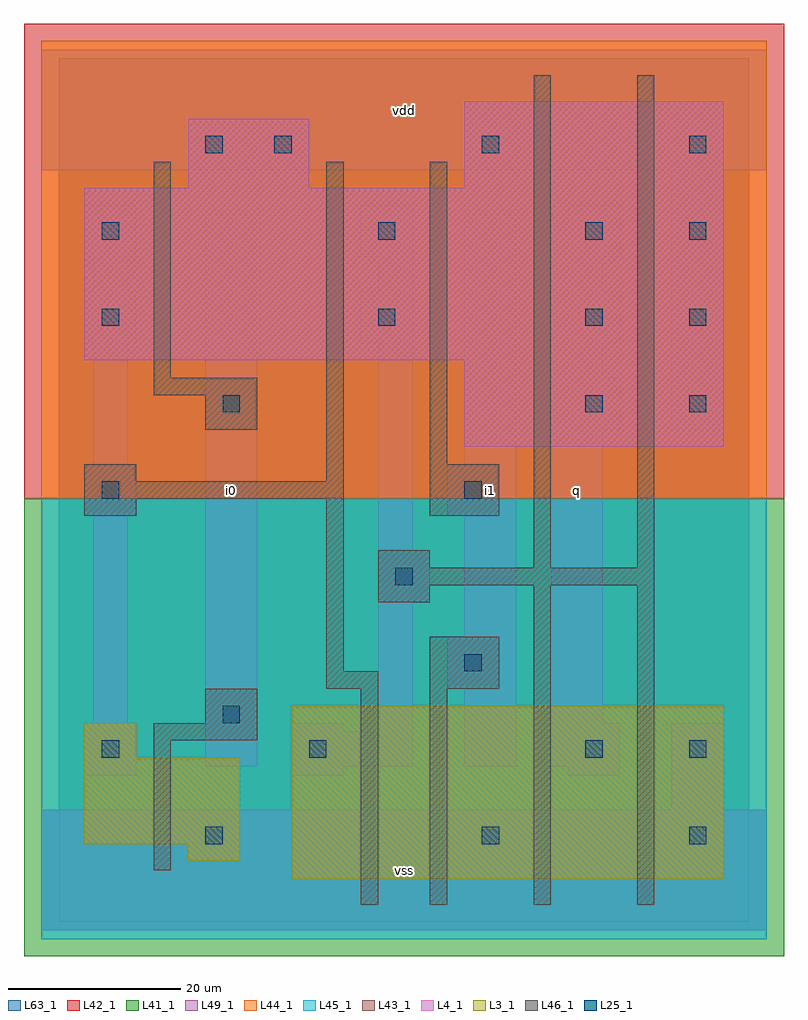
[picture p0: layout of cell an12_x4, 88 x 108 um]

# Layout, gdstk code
import gdstk
lib = gdstk.Library(unit=1e-6, precision=1e-09)
def R(c, l, rs):  # rectangles x0, y0, x1, y1
    for r in rs: c.add(gdstk.rectangle(r[:2], r[2:], *l))
def A(c, l, x, y, w, h, nx, ny, dx, dy):  # array of equal rectangles
    R(c, l, [(x+i*dx, y+j*dy, x+i*dx+w, y+j*dy+h) for i in range(nx) for j in range(ny)])
L3_1 = (3, 1)
L4_1 = (4, 1)
L25_1 = (25, 1)
L41_1 = (41, 1)
L42_1 = (42, 1)
L43_1 = (43, 1)
L44_1 = (44, 1)
L45_1 = (45, 1)
L46_1 = (46, 1)
L49_1 = (49, 1)
L63_1 = (63, 1)

an12_x4 = lib.new_cell('an12_x4')
R(an12_x4, L3_1, [(27,5,77,25), (15,7,21,9), (3,9,21,19), (3,19,9,23)])
R(an12_x4, L4_1, [(47,55,77,65), (3,65,77,85), (15,85,29,93), (47,85,77,95)])
A(an12_x4, L25_1, 61, 59, 2, 2, 1, 3, 0, 10)
A(an12_x4, L25_1, 73, 59, 2, 2, 1, 3, 0, 10)
A(an12_x4, L25_1, 25, 89, 2, 2, 3, 1, 24, 0)
R(an12_x4, L25_1, [(17,9,19,11), (49,9,51,11), (73,9,75,11), (5,19,7,21), (29,19,31,21), (61,19,63,21), (73,19,75,21), (19,23,21,25), (47,29,49,31), (39,39,41,41), (5,49,7,51), (47,49,49,51), (19,59,21,61), (5,69,7,71), (37,69,39,71), (5,79,7,81), (37,79,39,81), (17,89,19,91)])
R(an12_x4, L41_1, [(-4,-4,84,49)])
R(an12_x4, L42_1, [(-4,49,84,104)])
R(an12_x4, L43_1, [(27,5,77,25), (15,7,21,9), (3,9,21,19), (3,19,9,23), (47,55,77,65), (3,65,77,85), (15,85,29,93), (47,85,77,95)])
R(an12_x4, L44_1, [(-2,49,82,102)])
R(an12_x4, L45_1, [(-2,-2,82,49)])
R(an12_x4, L46_1, [(35,2,37,27), (43,2,45,27), (55,2,57,39), (67,2,69,39), (11,6,13,21), (11,21,23,23), (17,23,23,27), (31,27,37,29), (43,27,51,33), (31,29,33,49), (37,37,43,39), (37,39,69,41), (37,41,43,43), (55,41,57,98), (67,41,69,98), (3,47,9,49), (43,47,51,53), (3,49,33,51), (3,51,9,53), (31,51,33,88), (43,53,45,88), (17,57,23,61), (11,61,23,63), (11,63,13,88)])
R(an12_x4, L49_1, [(-2,-1,82,13), (71,13,77,23), (3,17,9,23), (27,17,33,18), (59,17,65,18), (17,18,23,82), (27,18,41,22), (47,18,53,27), (57,18,65,23), (27,22,33,23), (37,22,41,37), (4,23,8,47), (57,23,63,57), (45,27,53,33), (47,33,53,47), (37,37,43,43), (37,43,41,67), (3,47,9,53), (45,47,53,53), (4,53,8,67), (47,53,53,82), (57,57,65,63), (71,57,77,87), (57,63,63,67), (3,67,9,73), (35,67,41,73), (57,67,65,73), (4,73,8,77), (37,73,41,77), (57,73,63,77), (3,77,9,83), (35,77,41,83), (57,77,65,82), (59,82,65,83), (-2,87,82,101)])
R(an12_x4, L63_1, [(0,0,80,100)])
an12_x4.add(gdstk.Label('i0', (20,50), layer=49, texttype=1))
an12_x4.add(gdstk.Label('i0', (20,50), layer=49, texttype=1))
an12_x4.add(gdstk.Label('vss', (40,6), layer=49, texttype=1))
an12_x4.add(gdstk.Label('vss', (40,6), layer=49, texttype=1))
an12_x4.add(gdstk.Label('i1', (50,50), layer=49, texttype=1))
an12_x4.add(gdstk.Label('q', (60,50), layer=49, texttype=1))
an12_x4.add(gdstk.Label('i1', (50,50), layer=49, texttype=1))
an12_x4.add(gdstk.Label('q', (60,50), layer=49, texttype=1))
an12_x4.add(gdstk.Label('vdd', (40,94), layer=49, texttype=1))
an12_x4.add(gdstk.Label('vdd', (40,94), layer=49, texttype=1))

lib.write_gds('an12_x4.gds')
